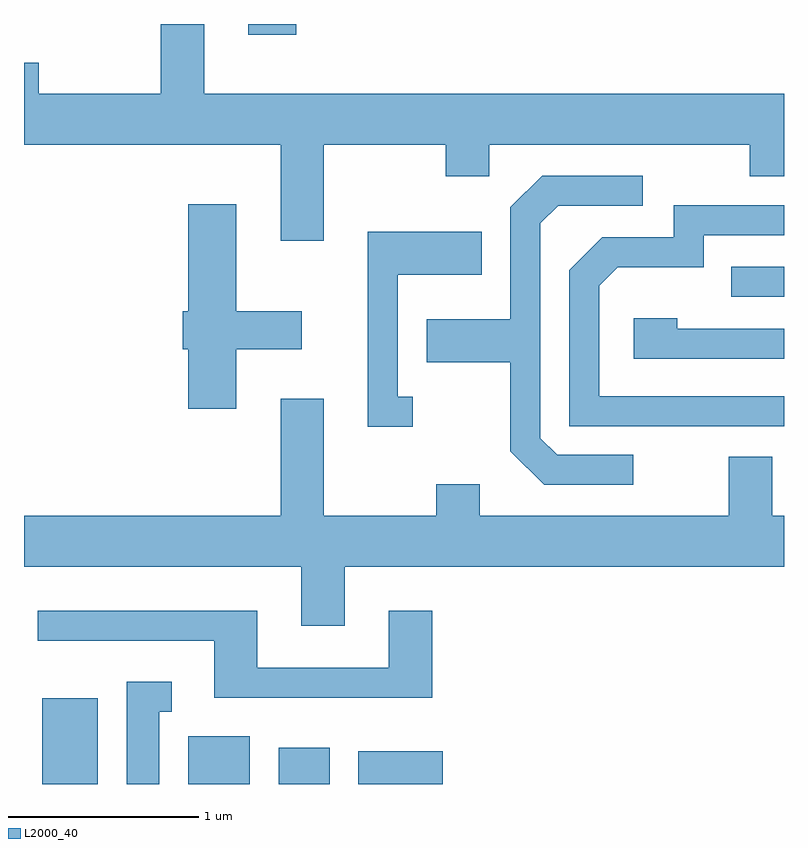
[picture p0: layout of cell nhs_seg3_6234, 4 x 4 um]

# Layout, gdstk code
import gdstk
lib = gdstk.Library(unit=1e-6, precision=1e-09)
def R(c, l, rs):  # rectangles x0, y0, x1, y1
    for r in rs: c.add(gdstk.rectangle(r[:2], r[2:], *l))
def P(c, l, *ps):  # polygons
    for p in ps: c.add(gdstk.Polygon(p, *l))
L2000_40 = (2000, 40)

nhs_seg3_6234 = lib.new_cell('nhs_seg3_6234')
R(nhs_seg3_6234, L2000_40, [(367.706,1215.892,367.999,1216.344), (368.476,1215.892,368.799,1216.144), (368.951,1215.892,369.219,1216.084), (369.371,1215.892,369.814,1216.064), (371.333,1218.456,371.611,1218.614), (368.791,1219.836,369.044,1219.892)])
P(nhs_seg3_6234, L2000_40, [(369.189,1219.256),(369.831,1219.256),(369.831,1219.091),(370.059,1219.091),(370.059,1219.256),(371.431,1219.256),(371.431,1219.091),(371.611,1219.091),(371.611,1219.524),(368.559,1219.524),(368.559,1219.892),(368.331,1219.892),(368.331,1219.524),(367.689,1219.524),(367.689,1219.689),(367.611,1219.689),(367.611,1219.256),(368.961,1219.256),(368.961,1218.751),(369.189,1218.751)],
  [(370.818,1217.624),(370.417,1217.624),(370.329,1217.712),(370.329,1218.844),(370.422,1218.936),(370.868,1218.936),(370.868,1219.094),(370.339,1219.094),(370.171,1218.927),(370.171,1218.339),(369.731,1218.339),(369.731,1218.111),(370.171,1218.111),(370.171,1217.644),(370.349,1217.466),(370.818,1217.466)],
  [(368.729,1218.181),(369.074,1218.181),(369.074,1218.379),(368.729,1218.379),(368.729,1218.944),(368.476,1218.944),(368.476,1218.379),(368.446,1218.379),(368.446,1218.181),(368.476,1218.181),(368.476,1217.866),(368.729,1217.866)],
  [(371.611,1217.934),(370.639,1217.934),(370.639,1218.514),(370.737,1218.611),(371.189,1218.611),(371.189,1218.781),(371.611,1218.781),(371.611,1218.939),(371.031,1218.939),(371.031,1218.769),(370.654,1218.769),(370.481,1218.597),(370.481,1217.776),(371.611,1217.776)],
  [(369.658,1217.929),(369.579,1217.929),(369.579,1218.571),(370.019,1218.571),(370.019,1218.799),(369.421,1218.799),(369.421,1217.771),(369.658,1217.771)],
  [(371.611,1218.289),(371.049,1218.289),(371.049,1218.344),(370.821,1218.344),(370.821,1218.131),(371.611,1218.131)],
  [(369.299,1217.036),(371.611,1217.036),(371.611,1217.304),(371.549,1217.304),(371.549,1217.614),(371.321,1217.614),(371.321,1217.304),(370.009,1217.304),(370.009,1217.469),(369.781,1217.469),(369.781,1217.304),(369.189,1217.304),(369.189,1217.919),(368.961,1217.919),(368.961,1217.304),(367.611,1217.304),(367.611,1217.036),(369.071,1217.036),(369.071,1216.726),(369.299,1216.726)],
  [(369.759,1216.804),(369.531,1216.804),(369.531,1216.504),(368.839,1216.504),(368.839,1216.804),(367.683,1216.804),(367.683,1216.646),(368.611,1216.646),(368.611,1216.346),(369.759,1216.346)],
  [(368.324,1216.271),(368.388,1216.271),(368.388,1216.429),(368.151,1216.429),(368.151,1215.892),(368.324,1215.892)])

lib.write_gds('nhs_seg3_6234.gds')
